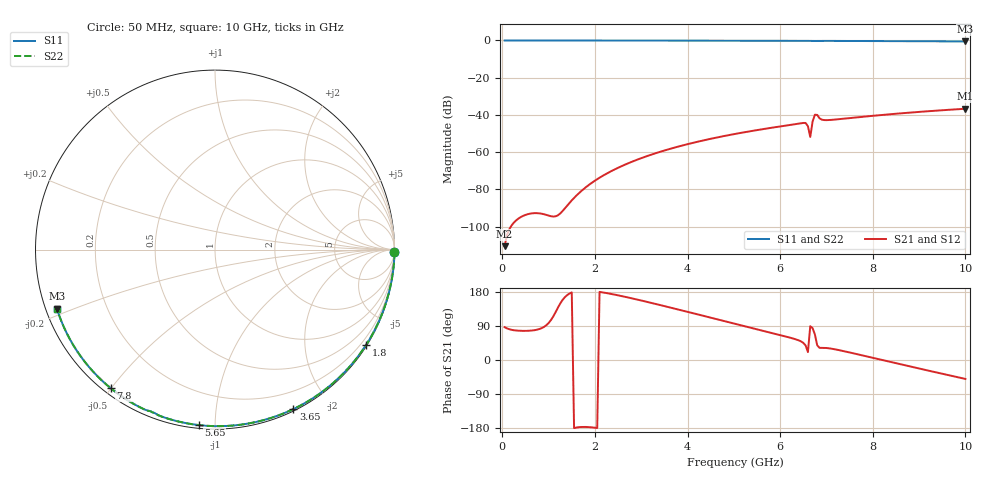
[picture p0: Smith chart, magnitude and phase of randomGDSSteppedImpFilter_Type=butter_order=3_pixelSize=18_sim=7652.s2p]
! freq	dB(S11)	phase(S11)	dB(S12)	phase(S12)
!  dB(S21)	phase(S21)	dB(S22)	phase(S22)
!S-par simulation data
#  GHz  S  DB  R 50
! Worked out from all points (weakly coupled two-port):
!   200 points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, 50 MHz to 10 GHz, reference 50 ohm
!   highest |S21| = -36.69 dB at 10 GHz (marker M1); lowest = -110.5 dB at 50 MHz (marker M2)
!   lowest |S11| = -0.5 dB at 10 GHz (marker M3), VSWR 32.43, Z = 1.59 - j9.04 ohm
!   |S11| at or under -10 dB: nowhere
!   |S22| runs from -0.5 to 0.0 dB; largest |S21 - S12| = 0
!   S11 on the Smith chart (normalised r, x): 50 MHz: open; 1.8 GHz: 0.03, -3.45; 3.65 GHz: 0.02, -1.61; 5.65 GHz: 0.02, -0.91; 7.8 GHz: 0.02, -0.50; 10 GHz: 0.03, -0.18
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0.05  -0.00 -0.9  -110.53 86.6  -110.53 86.6  -0.00 -0.9
0.9  -0.02 -16.3  -93.37 87.3  -93.37 87.3  -0.02 -16.3
1.75  -0.04 -31.4  -79.96 -176.6  -79.96 -176.6  -0.04 -31.4
1.8  -0.04 -32.3  -78.95 -176.7  -78.95 -176.7  -0.04 -32.3
2.1  -0.05 -37.6  -73.75 179.7  -73.75 179.7  -0.05 -37.5
2.5  -0.06 -44.5  -68.41 170.7  -68.41 170.7  -0.06 -44.5
2.9  -0.07 -51.3  -64.18 159.9  -64.18 159.9  -0.07 -51.3
3.4  -0.08 -59.7  -59.89 145.3  -59.89 145.3  -0.08 -59.6
3.65  -0.09 -63.8  -58.04 137.7  -58.04 137.7  -0.09 -63.8
5.05  -0.13 -86.1  -50.11 94.8  -50.11 94.8  -0.13 -86.1
5.65  -0.16 -95.4  -47.55 76.5  -47.55 76.5  -0.16 -95.3
6.55  -0.22 -109.0  -44.32 38.2  -44.32 38.2  -0.22 -108.9
6.6  -0.24 -109.8  -46.12 20.9  -46.12 20.9  -0.24 -109.7
6.65  -0.26 -110.3  -51.87 89.1  -51.87 89.1  -0.26 -110.2
6.7  -0.25 -111.0  -43.61 84.0  -43.61 84.0  -0.25 -111.0
6.75  -0.27 -111.7  -39.91 67.5  -39.91 67.5  -0.27 -111.7
6.8  -0.26 -112.2  -39.99 38.9  -39.99 38.9  -0.26 -112.2
6.85  -0.24 -113.0  -41.81 32.1  -41.81 32.1  -0.24 -113.0
6.95  -0.24 -114.6  -42.78 32.0  -42.78 32.0  -0.24 -114.5
7.8  -0.30 -127.0  -40.96 11.5  -40.96 11.5  -0.30 -127.0
8.35  -0.35 -135.0  -39.70 -4.1  -39.70 -4.1  -0.35 -135.0
10  -0.54 -159.5  -36.69 -50.0  -36.69 -50.0  -0.54 -159.4
